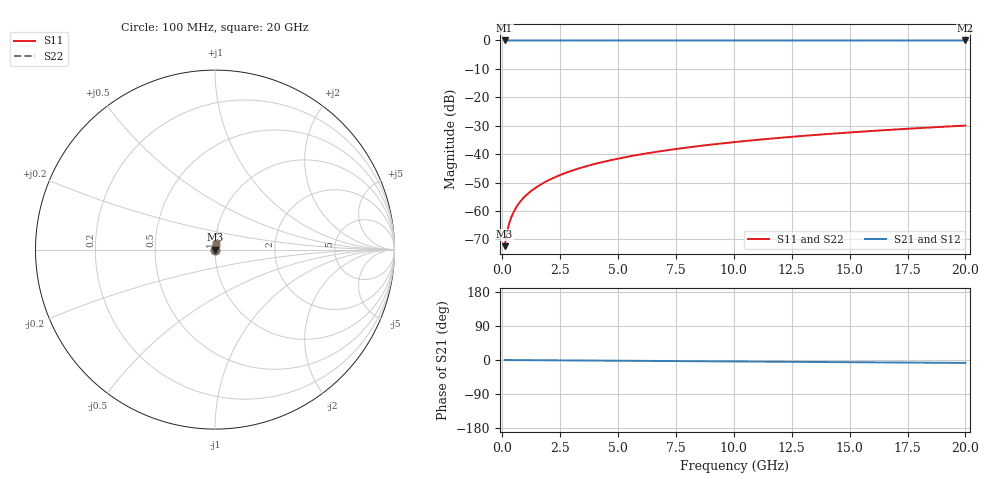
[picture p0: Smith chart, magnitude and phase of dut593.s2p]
! Touchstone file exported from HFSS 2026.1.0
!  File:  C:/ffzhzh/LocalFiles/Ansys_Project_Files/temp_train_TSV_593_1783025272_55676.aedt
!  Generated:  04:49:41 AM Jul  3, 2026
!  Design:  TSV
!  Project:  temp_train_TSV_593_1783025272_55676
! Variables:
!  h_bsmrdl = 2um
!  h_ox = 20um
!  h_rdl = 5um
!  h_sub = 71.8um
!  h_tmrdl = 5um
!  h_tsv = 71.8um
!  h_via = 3um
!  l_bsmrdl = 300um
!  l_sub = 418.02um
!  l_tmrdl = 200um
!  m_sub = 200um
!  pitch = 48.37um
!  r_tsv = 9.01um
!  s_tmrdl = 10um
!  w_bsmrdl = 18um
!  w_sub = 500um
!  w_tmrdl = 12um
!  x_tsv_center1 = 206um
!  x_tsv_center2 = 524um
!  x_tsv_center3 = 736um
!  x_tsv_center4 = 1054um
!  x_tsv_center5 = 1266um
!  x_tsv_center6 = 1584um
# GHz S MA R 50.000000
! Terminal data exported
! Port[1] = TSV1_1_T1
! Port[2] = TSV1_1_T2
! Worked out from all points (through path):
!   200 points, 100 MHz to 20 GHz, reference 50 ohm
!   highest |S21| = 0.00 dB at 100 MHz (marker M1); lowest = 0.0 dB at 20 GHz (marker M2)
!   group delay of S21, straight-line fit = 1.07 ps
!   lowest |S11| = -72.4 dB at 100 MHz (marker M3), VSWR 1.00, Z = 50 + j0.0198 ohm
!   |S11| at or under -10 dB: start of sweep to end of sweep
!   |S22| runs from -72.4 to -30.0 dB; largest |S21 - S12| = 2.3e-15
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0.1  0.0002399 55.5  0.9999 -0.0  0.9999 -0.0  0.0002399 55.5
! Gamma 0 0 0 0
! Port Impedance 50 0 50 0
0.2  0.0004196 69.6  0.9999 -0.1  0.9999 -0.1  0.0004196 69.6
0.3  0.0006071 74.5  0.9998 -0.1  0.9998 -0.1  0.0006071 74.5
0.4  0.0007931 76.8  0.9998 -0.2  0.9998 -0.2  0.0007931 76.8
0.5  0.0009756 78.0  0.9998 -0.2  0.9998 -0.2  0.0009756 78.0
0.6  0.001154 78.8  0.9998 -0.2  0.9998 -0.2  0.001154 78.8
0.7  0.001329 79.3  0.9998 -0.3  0.9998 -0.3  0.001329 79.3
0.8  0.001501 79.7  0.9997 -0.3  0.9997 -0.3  0.001501 79.7
1  0.001838 80.4  0.9997 -0.4  0.9997 -0.4  0.001838 80.4
1.4  0.002497 81.5  0.9996 -0.6  0.9996 -0.6  0.002497 81.5
1.7  0.002987 82.1  0.9996 -0.7  0.9996 -0.7  0.002987 82.1
2  0.003476 82.5  0.9996 -0.8  0.9996 -0.8  0.003476 82.5
2.7  0.004615 83.2  0.9995 -1.1  0.9995 -1.1  0.004615 83.2
3.5  0.005913 83.6  0.9995 -1.4  0.9995 -1.4  0.005913 83.6
4.2  0.007043 83.8  0.9994 -1.6  0.9994 -1.6  0.007043 83.8
5  0.008327 83.8  0.9993 -1.9  0.9993 -1.9  0.008327 83.8
6.8  0.01119 83.7  0.9992 -2.6  0.9992 -2.6  0.01119 83.7
8.3  0.01357 83.4  0.9991 -3.2  0.9991 -3.2  0.01357 83.4
10.1  0.0164 83.0  0.999 -3.9  0.999 -3.9  0.0164 83.0
13.4  0.02157 82.1  0.9988 -5.2  0.9988 -5.2  0.02157 82.1
16.7  0.0267 81.1  0.9985 -6.4  0.9985 -6.4  0.0267 81.1
20  0.03179 80.0  0.9982 -7.7  0.9982 -7.7  0.03179 80.0
